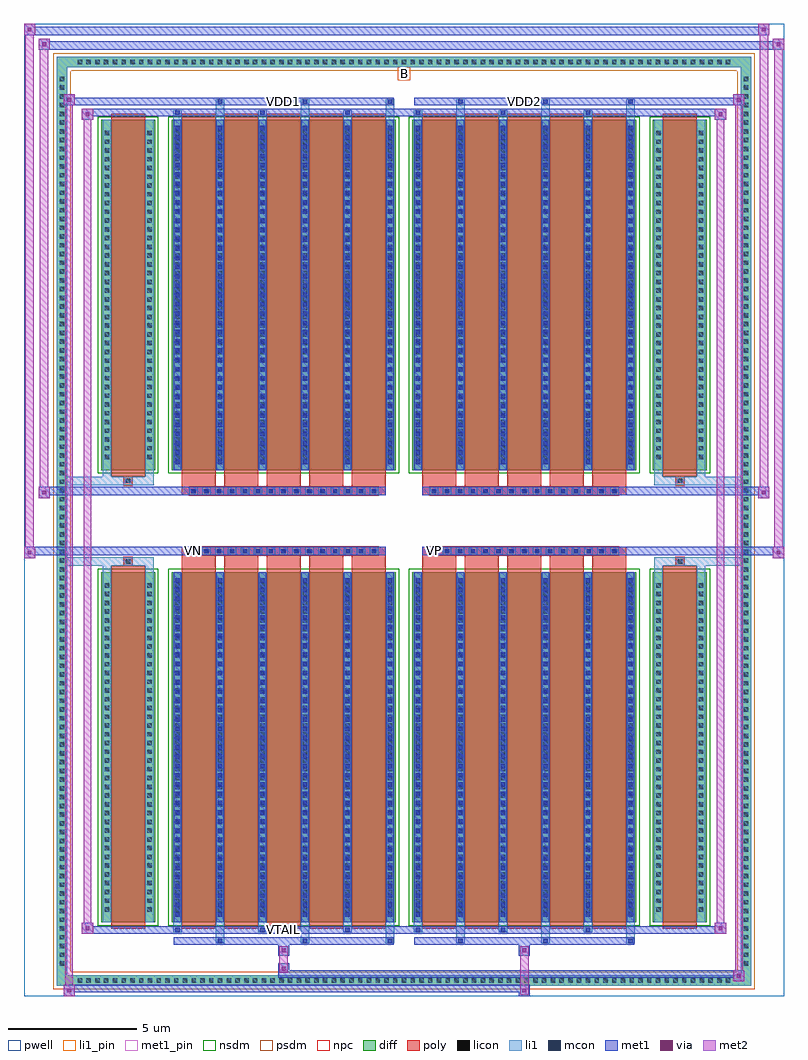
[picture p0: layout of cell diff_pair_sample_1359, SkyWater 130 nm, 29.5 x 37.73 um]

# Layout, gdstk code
import gdstk
lib = gdstk.Library(unit=1e-6, precision=5e-09)
def R(c, l, rs):  # rectangles x0, y0, x1, y1
    for r in rs: c.add(gdstk.rectangle(r[:2], r[2:], *l))
def A(c, l, x, y, w, h, nx, ny, dx, dy):  # array of equal rectangles
    R(c, l, [(x+i*dx, y+j*dy, x+i*dx+w, y+j*dy+h) for i in range(nx) for j in range(ny)])
def P(c, l, *ps):  # polygons
    for p in ps: c.add(gdstk.Polygon(p, *l))
pwell = (64, 44)
diff = (65, 20)
poly = (66, 20)
licon = (66, 44)
li1_pin = (67, 16)
li1 = (67, 20)
mcon = (67, 44)
met1_pin = (68, 16)
met1 = (68, 20)
via = (68, 44)
met2 = (69, 20)
nsdm = (93, 44)
psdm = (94, 20)
npc = (95, 20)

diff_pair_sample_1359 = lib.new_cell('diff_pair_sample_1359')
R(diff_pair_sample_1359, pwell, [(-14.75,-18.43,14.75,19.3), (-12.07,-16.62,-0.01,-0.8), (0.01,-16.62,12.07,-0.8), (-12.07,0.8,-0.01,16.62), (0.01,0.8,12.07,16.62)])
A(diff_pair_sample_1359, diff, -12.785, -18.03, 0.41, 0.41, 75, 2, 0.34, 35.65)
A(diff_pair_sample_1359, diff, -13.48, -17.375, 0.41, 0.41, 1, 102, 0, 0.34)
A(diff_pair_sample_1359, diff, 13.07, -17.375, 0.41, 0.41, 1, 102, 0, 0.34)
R(diff_pair_sample_1359, diff, [(-12.785,-18.03,12.785,-17.62), (-13.48,-17.375,-13.07,17.375), (13.07,-17.375,13.48,17.375), (-11.76,-15.575,-9.66,-1.985), (-9.02,-15.575,-0.32,-1.985), (0.32,-15.575,9.02,-1.985), (9.66,-15.575,11.76,-1.985), (-11.76,1.985,-9.66,15.575), (-9.02,1.985,-0.32,15.575), (0.32,1.985,9.02,15.575), (9.66,1.985,11.76,15.575), (-12.785,17.62,12.785,18.03)])
P(diff_pair_sample_1359, diff, [(13.48,18.03),(-13.48,18.03),(-13.48,-17.62),(-13.07,-17.62),(-13.07,17.62),(13.07,17.62),(13.07,-17.62),(-13.07,-17.62),(-13.48,-17.62),(-13.48,-18.03),(13.48,-18.03)])
A(diff_pair_sample_1359, poly, -8.63, -15.825, 1.32, 14.09, 5, 2, 1.65, 17.56)
A(diff_pair_sample_1359, poly, 0.71, -15.825, 1.32, 14.09, 5, 2, 1.65, 17.56)
A(diff_pair_sample_1359, poly, -8.63, -1.735, 1.32, 0.405, 5, 2, 1.65, 3.065)
A(diff_pair_sample_1359, poly, 0.71, -1.735, 1.32, 0.405, 5, 2, 1.65, 3.065)
A(diff_pair_sample_1359, poly, -8.335, -1.33, 0.33, 0.33, 15, 2, 0.5, 2.33)
A(diff_pair_sample_1359, poly, 1.005, -1.33, 0.33, 0.33, 15, 2, 0.5, 2.33)
R(diff_pair_sample_1359, poly, [(-11.37,-15.825,-10.05,-1.735), (10.05,-15.825,11.37,-1.735), (-10.875,-1.735,-10.545,-1.405), (-10.875,-1.735,-10.545,-1.405), (10.545,-1.735,10.875,-1.405), (10.545,-1.735,10.875,-1.405), (-8.63,-1.33,-0.71,-1), (0.71,-1.33,8.63,-1), (-8.63,1,-0.71,1.33), (0.71,1,8.63,1.33), (-10.875,1.405,-10.545,1.735), (-10.875,1.405,-10.545,1.735), (10.545,1.405,10.875,1.735), (10.545,1.405,10.875,1.735), (-11.37,1.735,-10.05,15.825), (10.05,1.735,11.37,15.825)])
A(diff_pair_sample_1359, licon, -12.665, -17.91, 0.17, 0.17, 75, 2, 0.34, 35.65)
A(diff_pair_sample_1359, licon, -13.36, -17.255, 0.17, 0.17, 1, 102, 0, 0.34)
A(diff_pair_sample_1359, licon, 13.19, -17.255, 0.17, 0.17, 1, 102, 0, 0.34)
A(diff_pair_sample_1359, licon, -11.62, -15.155, 0.17, 0.17, 1, 38, 0, 0.34)
A(diff_pair_sample_1359, licon, -9.97, -15.155, 0.17, 0.17, 1, 38, 0, 0.34)
A(diff_pair_sample_1359, licon, -8.88, -15.155, 0.17, 0.17, 6, 38, 1.65, 0.34)
A(diff_pair_sample_1359, licon, 0.46, -15.155, 0.17, 0.17, 6, 38, 1.65, 0.34)
A(diff_pair_sample_1359, licon, 9.8, -15.155, 0.17, 0.17, 1, 38, 0, 0.34)
A(diff_pair_sample_1359, licon, 11.45, -15.155, 0.17, 0.17, 1, 38, 0, 0.34)
A(diff_pair_sample_1359, licon, -8.255, -1.25, 0.17, 0.17, 15, 2, 0.5, 2.33)
A(diff_pair_sample_1359, licon, 1.085, -1.25, 0.17, 0.17, 15, 2, 0.5, 2.33)
A(diff_pair_sample_1359, licon, -11.62, 2.405, 0.17, 0.17, 1, 38, 0, 0.34)
A(diff_pair_sample_1359, licon, -9.97, 2.405, 0.17, 0.17, 1, 38, 0, 0.34)
A(diff_pair_sample_1359, licon, -8.88, 2.405, 0.17, 0.17, 6, 38, 1.65, 0.34)
A(diff_pair_sample_1359, licon, 0.46, 2.405, 0.17, 0.17, 6, 38, 1.65, 0.34)
A(diff_pair_sample_1359, licon, 9.8, 2.405, 0.17, 0.17, 1, 38, 0, 0.34)
A(diff_pair_sample_1359, licon, 11.45, 2.405, 0.17, 0.17, 1, 38, 0, 0.34)
R(diff_pair_sample_1359, licon, [(-10.795,-1.655,-10.625,-1.485), (10.625,-1.655,10.795,-1.485), (-10.795,1.485,-10.625,1.655), (10.625,1.485,10.795,1.655)])
R(diff_pair_sample_1359, li1_pin, [(-0.25,17.12,0.25,17.62)])
A(diff_pair_sample_1359, li1, -12.745, -17.99, 0.33, 0.33, 75, 2, 0.34, 35.65)
A(diff_pair_sample_1359, li1, -13.44, -17.335, 0.33, 0.33, 1, 102, 0, 0.34)
A(diff_pair_sample_1359, li1, 13.11, -17.335, 0.33, 0.33, 1, 102, 0, 0.34)
A(diff_pair_sample_1359, li1, -7.31, -16.38, 0.33, 0.805, 3, 2, 3.3, 31.955)
A(diff_pair_sample_1359, li1, -7.23, -16.38, 0.17, 0.17, 3, 2, 3.3, 32.59)
A(diff_pair_sample_1359, li1, 2.03, -16.38, 0.33, 0.805, 3, 2, 3.3, 31.955)
A(diff_pair_sample_1359, li1, 2.11, -16.38, 0.17, 0.17, 3, 2, 3.3, 32.59)
A(diff_pair_sample_1359, li1, -8.96, -15.95, 0.33, 0.375, 3, 2, 3.3, 31.525)
A(diff_pair_sample_1359, li1, -8.88, -15.95, 0.17, 0.17, 3, 2, 3.3, 31.73)
A(diff_pair_sample_1359, li1, 0.38, -15.95, 0.33, 0.375, 3, 2, 3.3, 31.525)
A(diff_pair_sample_1359, li1, 0.46, -15.95, 0.17, 0.17, 3, 2, 3.3, 31.73)
A(diff_pair_sample_1359, li1, -8.96, -15.575, 0.33, 13.59, 6, 2, 1.65, 17.56)
A(diff_pair_sample_1359, li1, 0.38, -15.575, 0.33, 13.59, 6, 2, 1.65, 17.56)
A(diff_pair_sample_1359, li1, -8.88, -15.345, 0.17, 0.17, 6, 37, 1.65, 0.36)
A(diff_pair_sample_1359, li1, -8.88, -15.345, 0.17, 13.13, 6, 2, 1.65, 17.56)
A(diff_pair_sample_1359, li1, 0.46, -15.345, 0.17, 0.17, 6, 37, 1.65, 0.36)
A(diff_pair_sample_1359, li1, 0.46, -15.345, 0.17, 13.13, 6, 2, 1.65, 17.56)
A(diff_pair_sample_1359, li1, -11.7, -15.235, 0.33, 0.33, 1, 38, 0, 0.34)
A(diff_pair_sample_1359, li1, -10.05, -15.235, 0.33, 0.33, 1, 38, 0, 0.34)
A(diff_pair_sample_1359, li1, -8.96, -15.235, 0.33, 0.33, 6, 38, 1.65, 0.34)
A(diff_pair_sample_1359, li1, 0.38, -15.235, 0.33, 0.33, 6, 38, 1.65, 0.34)
A(diff_pair_sample_1359, li1, 9.72, -15.235, 0.33, 0.33, 1, 38, 0, 0.34)
A(diff_pair_sample_1359, li1, 11.37, -15.235, 0.33, 0.33, 1, 38, 0, 0.34)
A(diff_pair_sample_1359, li1, -8.335, -1.33, 0.33, 0.33, 15, 2, 0.5, 2.33)
A(diff_pair_sample_1359, li1, 1.005, -1.33, 0.33, 0.33, 15, 2, 0.5, 2.33)
A(diff_pair_sample_1359, li1, -8.88, 2.215, 0.17, 0.17, 6, 37, 1.65, 0.36)
A(diff_pair_sample_1359, li1, 0.46, 2.215, 0.17, 0.17, 6, 37, 1.65, 0.36)
A(diff_pair_sample_1359, li1, -11.7, 2.325, 0.33, 0.33, 1, 38, 0, 0.34)
A(diff_pair_sample_1359, li1, -10.05, 2.325, 0.33, 0.33, 1, 38, 0, 0.34)
A(diff_pair_sample_1359, li1, -8.96, 2.325, 0.33, 0.33, 6, 38, 1.65, 0.34)
A(diff_pair_sample_1359, li1, 0.38, 2.325, 0.33, 0.33, 6, 38, 1.65, 0.34)
A(diff_pair_sample_1359, li1, 9.72, 2.325, 0.33, 0.33, 1, 38, 0, 0.34)
A(diff_pair_sample_1359, li1, 11.37, 2.325, 0.33, 0.33, 1, 38, 0, 0.34)
R(diff_pair_sample_1359, li1, [(-13.48,-18.03,-13.07,-17.62), (-13.48,-18.03,-13.07,-17.62), (-13.07,-18.03,13.07,-17.62), (13.07,-18.03,13.48,-17.62), (13.07,-18.03,13.48,-17.62), (-13.48,-17.62,-13.07,17.62), (13.07,-17.62,13.48,17.62), (-11.7,-15.575,-11.37,-1.985), (-10.05,-15.575,-9.72,-1.985), (9.72,-15.575,10.05,-1.985), (11.37,-15.575,11.7,-1.985), (-11.7,-1.985,-11.37,-1.405), (-10.05,-1.985,-9.72,-1.405), (9.72,-1.985,10.05,-1.405), (11.37,-1.985,11.7,-1.405), (-13.48,-1.735,-10.875,-1.405), (-11.7,-1.735,-10.875,-1.405), (-10.875,-1.735,-10.545,-1.405), (-10.545,-1.735,-9.72,-1.405), (9.72,-1.735,10.545,-1.405), (10.545,-1.735,10.875,-1.405), (10.545,-1.735,13.48,-1.405), (10.875,-1.735,11.7,-1.405), (-13.48,1.405,-10.875,1.735), (-11.7,1.405,-10.875,1.735), (-11.7,1.405,-11.37,1.985), (-10.875,1.405,-10.545,1.735), (-10.545,1.405,-9.72,1.735), (-10.05,1.405,-9.72,1.985), (9.72,1.405,10.545,1.735), (9.72,1.405,10.05,1.985), (10.545,1.405,10.875,1.735), (10.545,1.405,13.48,1.735), (10.875,1.405,11.7,1.735), (11.37,1.405,11.7,1.985), (-11.7,1.985,-11.37,15.575), (-10.05,1.985,-9.72,15.575), (9.72,1.985,10.05,15.575), (11.37,1.985,11.7,15.575), (-13.48,17.62,-13.07,18.03), (-13.48,17.62,-13.07,18.03), (-13.07,17.62,13.07,18.03), (13.07,17.62,13.48,18.03), (13.07,17.62,13.48,18.03)])
A(diff_pair_sample_1359, mcon, -7.23, -16.38, 0.17, 0.17, 3, 2, 3.3, 32.59)
A(diff_pair_sample_1359, mcon, 2.11, -16.38, 0.17, 0.17, 3, 2, 3.3, 32.59)
A(diff_pair_sample_1359, mcon, -8.88, -15.95, 0.17, 0.17, 3, 2, 3.3, 31.73)
A(diff_pair_sample_1359, mcon, 0.46, -15.95, 0.17, 0.17, 3, 2, 3.3, 31.73)
A(diff_pair_sample_1359, mcon, -8.88, -15.345, 0.17, 0.17, 6, 37, 1.65, 0.36)
A(diff_pair_sample_1359, mcon, 0.46, -15.345, 0.17, 0.17, 6, 37, 1.65, 0.36)
A(diff_pair_sample_1359, mcon, -8.255, -1.25, 0.17, 0.17, 15, 2, 0.5, 2.33)
A(diff_pair_sample_1359, mcon, 1.085, -1.25, 0.17, 0.17, 15, 2, 0.5, 2.33)
A(diff_pair_sample_1359, mcon, -8.88, 2.215, 0.17, 0.17, 6, 37, 1.65, 0.36)
A(diff_pair_sample_1359, mcon, 0.46, 2.215, 0.17, 0.17, 6, 37, 1.65, 0.36)
R(diff_pair_sample_1359, met1_pin, [(-4.805,-15.99,-4.535,-15.72), (-8.305,-1.29,-8.035,-1.02), (1.035,-1.29,1.305,-1.02), (-4.805,16.17,-4.535,16.44), (4.535,16.17,4.805,16.44)])
A(diff_pair_sample_1359, met1, -7.29, -16.44, 0.29, 0.29, 3, 2, 3.3, 32.59)
A(diff_pair_sample_1359, met1, 2.05, -16.44, 0.29, 0.29, 3, 2, 3.3, 32.59)
A(diff_pair_sample_1359, met1, -8.94, -16.01, 0.29, 0.29, 3, 2, 3.3, 31.73)
A(diff_pair_sample_1359, met1, 0.4, -16.01, 0.29, 0.29, 3, 2, 3.3, 31.73)
A(diff_pair_sample_1359, met1, -8.94, -15.575, 0.29, 13.59, 6, 2, 1.65, 17.56)
A(diff_pair_sample_1359, met1, 0.4, -15.575, 0.29, 13.59, 6, 2, 1.65, 17.56)
A(diff_pair_sample_1359, met1, -8.94, -15.405, 0.29, 0.29, 6, 37, 1.65, 0.36)
A(diff_pair_sample_1359, met1, 0.4, -15.405, 0.29, 0.29, 6, 37, 1.65, 0.36)
A(diff_pair_sample_1359, met1, -8.315, -1.31, 0.29, 0.29, 15, 2, 0.5, 2.33)
A(diff_pair_sample_1359, met1, 1.025, -1.31, 0.29, 0.29, 15, 2, 0.5, 2.33)
A(diff_pair_sample_1359, met1, -8.94, 2.155, 0.29, 0.29, 6, 37, 1.65, 0.36)
A(diff_pair_sample_1359, met1, 0.4, 2.155, 0.29, 0.29, 6, 37, 1.65, 0.36)
R(diff_pair_sample_1359, met1, [(-13.21,-18.43,-12.78,-18), (4.455,-18.43,4.885,-18), (-13.21,-18.29,4.885,-18), (12.78,-17.86,13.21,-17.43), (-4.885,-17.72,13.21,-17.43), (-4.885,-17.58,-4.455,-17.15), (-4.885,-16.87,-4.455,-16.44), (4.455,-16.87,4.885,-16.44), (-8.94,-16.44,-0.4,-16.15), (0.4,-16.44,8.94,-16.15), (-12.5,-16.01,-12.07,-15.58), (-12.5,-16.01,-8.94,-15.72), (-8.94,-16.01,-0.4,-15.72), (-0.4,-16.01,0.4,-15.72), (0.4,-16.01,8.94,-15.72), (8.94,-16.01,12.5,-15.72), (12.07,-16.01,12.5,-15.58), (-14.75,-1.43,-14.32,-1), (14.32,-1.43,14.75,-1), (-14.75,-1.33,-0.71,-1), (-8.63,-1.33,-0.71,-1), (0.71,-1.33,8.63,-1), (0.71,-1.33,14.75,-1), (-14.18,0.9,-13.75,1.33), (13.75,0.9,14.18,1.33), (-14.18,1,-8.63,1.33), (-8.63,1,-0.71,1.33), (0.71,1,8.63,1.33), (8.63,1,14.18,1.33), (-12.5,15.58,-12.07,16.01), (12.07,15.58,12.5,16.01), (-12.5,15.72,-8.94,16.01), (-8.94,15.72,-0.4,16.01), (-0.4,15.72,0.4,16.01), (0.4,15.72,8.94,16.01), (8.94,15.72,12.5,16.01), (-13.21,16.15,-12.78,16.58), (-13.21,16.15,-8.94,16.44), (-8.94,16.15,-0.4,16.44), (0.4,16.15,8.94,16.44), (8.94,16.15,13.21,16.44), (12.78,16.15,13.21,16.58), (-14.18,18.3,-13.75,18.73), (-14.18,18.3,-12.07,18.63), (-12.07,18.3,12.07,18.63), (12.07,18.3,14.75,18.63), (14.32,18.3,14.75,18.73), (-14.75,18.87,-14.32,19.3), (-14.75,18.87,-12.07,19.2), (-12.07,18.87,12.07,19.2), (12.07,18.87,14.18,19.2), (13.75,18.87,14.18,19.3)])
R(diff_pair_sample_1359, via, [(-13.07,-18.29,-12.92,-18.14), (4.595,-18.29,4.745,-18.14), (12.92,-17.72,13.07,-17.57), (-4.745,-17.44,-4.595,-17.29), (-4.745,-16.73,-4.595,-16.58), (4.595,-16.73,4.745,-16.58), (-12.36,-15.87,-12.21,-15.72), (12.21,-15.87,12.36,-15.72), (-14.61,-1.29,-14.46,-1.14), (14.46,-1.29,14.61,-1.14), (-14.04,1.04,-13.89,1.19), (13.89,1.04,14.04,1.19), (-12.36,15.72,-12.21,15.87), (12.21,15.72,12.36,15.87), (-13.07,16.29,-12.92,16.44), (12.92,16.29,13.07,16.44), (-14.04,18.44,-13.89,18.59), (14.46,18.44,14.61,18.59), (-14.61,19.01,-14.46,19.16), (13.89,19.01,14.04,19.16)])
R(diff_pair_sample_1359, met2, [(-13.21,-18.43,-12.78,-18), (-13.14,-18.43,-12.85,16.58), (-12.85,-18.43,-12.78,-18), (-13.16,-18.38,-12.83,-18.05), (4.505,-18.38,4.835,-18.05), (4.505,-18.05,4.835,-16.82), (12.78,-17.86,13.21,-17.43), (12.85,-17.86,13.14,16.58), (13.14,-17.86,13.21,-17.43), (12.83,-17.81,13.16,-17.48), (-4.835,-17.53,-4.505,-17.2), (-4.835,-17.2,-4.505,-16.82), (-4.835,-16.82,-4.505,-16.49), (4.505,-16.82,4.835,-16.49), (-12.5,-16.01,-12.07,-15.58), (-12.43,-16.01,-12.14,16.01), (-12.14,-16.01,-12.07,-15.58), (12.07,-16.01,12.5,-15.58), (12.14,-16.01,12.43,16.01), (12.43,-16.01,12.5,-15.58), (-12.45,-15.96,-12.12,-15.63), (12.12,-15.96,12.45,-15.63), (-14.75,-1.43,-14.32,-1), (-14.7,-1.43,-14.37,19.3), (-14.37,-1.43,-14.32,-1), (14.32,-1.43,14.75,-1), (14.37,-1.43,14.7,18.73), (14.7,-1.43,14.75,-1), (-14.7,-1.38,-14.37,-1.05), (14.37,-1.38,14.7,-1.05), (-14.18,0.9,-13.75,1.33), (-14.13,0.9,-13.8,18.73), (-13.8,0.9,-13.75,1.33), (13.75,0.9,14.18,1.33), (13.8,0.9,14.13,19.3), (14.13,0.9,14.18,1.33), (-14.13,0.95,-13.8,1.28), (13.8,0.95,14.13,1.28), (-12.5,15.58,-12.07,16.01), (-12.14,15.58,-12.07,16.01), (12.07,15.58,12.5,16.01), (12.43,15.58,12.5,16.01), (-12.45,15.63,-12.12,15.96), (12.12,15.63,12.45,15.96), (-13.21,16.15,-12.78,16.58), (-12.85,16.15,-12.78,16.58), (12.78,16.15,13.21,16.58), (13.14,16.15,13.21,16.58), (-13.16,16.2,-12.83,16.53), (12.83,16.2,13.16,16.53), (-14.18,18.3,-13.75,18.73), (-13.8,18.3,-13.75,18.73), (14.32,18.3,14.75,18.73), (14.7,18.3,14.75,18.73), (-14.13,18.35,-13.8,18.68), (14.37,18.35,14.7,18.68), (-14.75,18.87,-14.32,19.3), (-14.37,18.87,-14.32,19.3), (13.75,18.87,14.18,19.3), (14.13,18.87,14.18,19.3), (-14.7,18.92,-14.37,19.25), (13.8,18.92,14.13,19.25)])
R(diff_pair_sample_1359, nsdm, [(-11.89,-15.705,-9.53,-1.855), (-9.15,-15.705,-0.19,-1.855), (0.19,-15.705,9.15,-1.855), (9.53,-15.705,11.89,-1.855), (-11.89,1.855,-9.53,15.705), (-9.15,1.855,-0.19,15.705), (0.19,1.855,9.15,15.705), (9.53,1.855,11.89,15.705)])
P(diff_pair_sample_1359, psdm, [(13.61,18.16),(-13.61,18.16),(-13.61,-17.49),(-12.94,-17.49),(-12.94,17.49),(12.94,17.49),(12.94,-17.49),(-12.94,-17.49),(-13.61,-17.49),(-13.61,-18.16),(13.61,-18.16)])
A(diff_pair_sample_1359, npc, -8.355, -1.35, 0.37, 0.37, 15, 2, 0.5, 2.33)
A(diff_pair_sample_1359, npc, 0.985, -1.35, 0.37, 0.37, 15, 2, 0.5, 2.33)
R(diff_pair_sample_1359, npc, [(-10.895,-1.755,-10.525,-1.385), (10.525,-1.755,10.895,-1.385), (-8.355,-1.35,-7.485,-0.98), (-8.355,-1.35,-7.485,-0.98), (-7.855,-1.35,-6.985,-0.98), (-7.855,-1.35,-6.985,-0.98), (-7.355,-1.35,-6.485,-0.98), (-7.355,-1.35,-6.485,-0.98), (-6.855,-1.35,-5.985,-0.98), (-6.855,-1.35,-5.985,-0.98), (-6.355,-1.35,-5.485,-0.98), (-6.355,-1.35,-5.485,-0.98), (-5.855,-1.35,-4.985,-0.98), (-5.855,-1.35,-4.985,-0.98), (-5.355,-1.35,-4.485,-0.98), (-5.355,-1.35,-4.485,-0.98), (-4.855,-1.35,-3.985,-0.98), (-4.855,-1.35,-3.985,-0.98), (-4.355,-1.35,-3.485,-0.98), (-4.355,-1.35,-3.485,-0.98), (-3.855,-1.35,-2.985,-0.98), (-3.855,-1.35,-2.985,-0.98), (-3.355,-1.35,-2.485,-0.98), (-3.355,-1.35,-2.485,-0.98), (-2.855,-1.35,-1.985,-0.98), (-2.855,-1.35,-1.985,-0.98), (-2.355,-1.35,-1.485,-0.98), (-2.355,-1.35,-1.485,-0.98), (-1.855,-1.35,-0.985,-0.98), (-1.855,-1.35,-0.985,-0.98), (0.985,-1.35,1.855,-0.98), (0.985,-1.35,1.855,-0.98), (1.485,-1.35,2.355,-0.98), (1.485,-1.35,2.355,-0.98), (1.985,-1.35,2.855,-0.98), (1.985,-1.35,2.855,-0.98), (2.485,-1.35,3.355,-0.98), (2.485,-1.35,3.355,-0.98), (2.985,-1.35,3.855,-0.98), (2.985,-1.35,3.855,-0.98), (3.485,-1.35,4.355,-0.98), (3.485,-1.35,4.355,-0.98), (3.985,-1.35,4.855,-0.98), (3.985,-1.35,4.855,-0.98), (4.485,-1.35,5.355,-0.98), (4.485,-1.35,5.355,-0.98), (4.985,-1.35,5.855,-0.98), (4.985,-1.35,5.855,-0.98), (5.485,-1.35,6.355,-0.98), (5.485,-1.35,6.355,-0.98), (5.985,-1.35,6.855,-0.98), (5.985,-1.35,6.855,-0.98), (6.485,-1.35,7.355,-0.98), (6.485,-1.35,7.355,-0.98), (6.985,-1.35,7.855,-0.98), (6.985,-1.35,7.855,-0.98), (7.485,-1.35,8.355,-0.98), (7.485,-1.35,8.355,-0.98), (-8.355,0.98,-7.485,1.35), (-8.355,0.98,-7.485,1.35), (-7.855,0.98,-6.985,1.35), (-7.855,0.98,-6.985,1.35), (-7.355,0.98,-6.485,1.35), (-7.355,0.98,-6.485,1.35), (-6.855,0.98,-5.985,1.35), (-6.855,0.98,-5.985,1.35), (-6.355,0.98,-5.485,1.35), (-6.355,0.98,-5.485,1.35), (-5.855,0.98,-4.985,1.35), (-5.855,0.98,-4.985,1.35), (-5.355,0.98,-4.485,1.35), (-5.355,0.98,-4.485,1.35), (-4.855,0.98,-3.985,1.35), (-4.855,0.98,-3.985,1.35), (-4.355,0.98,-3.485,1.35), (-4.355,0.98,-3.485,1.35), (-3.855,0.98,-2.985,1.35), (-3.855,0.98,-2.985,1.35), (-3.355,0.98,-2.485,1.35), (-3.355,0.98,-2.485,1.35), (-2.855,0.98,-1.985,1.35), (-2.855,0.98,-1.985,1.35), (-2.355,0.98,-1.485,1.35), (-2.355,0.98,-1.485,1.35), (-1.855,0.98,-0.985,1.35), (-1.855,0.98,-0.985,1.35), (0.985,0.98,1.855,1.35), (0.985,0.98,1.855,1.35), (1.485,0.98,2.355,1.35), (1.485,0.98,2.355,1.35), (1.985,0.98,2.855,1.35), (1.985,0.98,2.855,1.35), (2.485,0.98,3.355,1.35), (2.485,0.98,3.355,1.35), (2.985,0.98,3.855,1.35), (2.985,0.98,3.855,1.35), (3.485,0.98,4.355,1.35), (3.485,0.98,4.355,1.35), (3.985,0.98,4.855,1.35), (3.985,0.98,4.855,1.35), (4.485,0.98,5.355,1.35), (4.485,0.98,5.355,1.35), (4.985,0.98,5.855,1.35), (4.985,0.98,5.855,1.35), (5.485,0.98,6.355,1.35), (5.485,0.98,6.355,1.35), (5.985,0.98,6.855,1.35), (5.985,0.98,6.855,1.35), (6.485,0.98,7.355,1.35), (6.485,0.98,7.355,1.35), (6.985,0.98,7.855,1.35), (6.985,0.98,7.855,1.35), (7.485,0.98,8.355,1.35), (7.485,0.98,8.355,1.35), (-10.895,1.385,-10.525,1.755), (10.525,1.385,10.895,1.755)])
diff_pair_sample_1359.add(gdstk.Label('VTAIL', (-4.67,-15.855), layer=68, texttype=5))
diff_pair_sample_1359.add(gdstk.Label('VN', (-8.17,-1.155), layer=68, texttype=5))
diff_pair_sample_1359.add(gdstk.Label('VP', (1.17,-1.155), layer=68, texttype=5))
diff_pair_sample_1359.add(gdstk.Label('B', (0,17.37), layer=67, texttype=5))
diff_pair_sample_1359.add(gdstk.Label('VDD2', (4.67,16.305), layer=68, texttype=5))
diff_pair_sample_1359.add(gdstk.Label('VDD1', (-4.67,16.305), layer=68, texttype=5))

lib.write_gds('diff_pair_sample_1359.gds')
